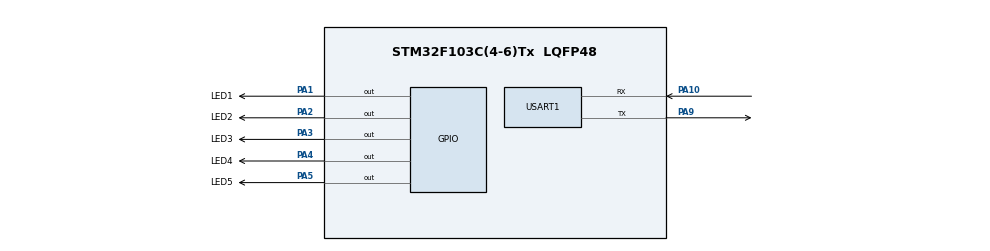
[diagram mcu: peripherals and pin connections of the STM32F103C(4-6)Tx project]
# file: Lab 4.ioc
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Mcu.Family=STM32F1
Mcu.Name=STM32F103C(4-6)Tx
Mcu.Package=LQFP48
NVIC.PriorityGroup=NVIC_PRIORITYGROUP_4
NVIC.TIM2_IRQn=true\:0\:0\:false\:false\:true\:true\:true
PA1.GPIO_Label=LED1
PA1.Signal=GPIO_Output
PA10.Mode=Asynchronous
PA10.Signal=USART1_RX
PA13.Mode=Serial_Wire
PA13.Signal=SYS_JTMS-SWDIO
PA14.Mode=Serial_Wire
PA14.Signal=SYS_JTCK-SWCLK
PA2.GPIO_Label=LED2
PA2.Signal=GPIO_Output
PA3.GPIO_Label=LED3
PA3.Signal=GPIO_Output
PA4.GPIO_Label=LED4
PA4.Signal=GPIO_Output
PA5.GPIO_Label=LED5
PA5.Signal=GPIO_Output
PA9.Mode=Asynchronous
PA9.Signal=USART1_TX
ProjectManager.HeapSize=0x200
ProjectManager.StackSize=0x400
ProjectManager.TargetToolchain=STM32CubeIDE
RCC.APB1Freq_Value=8000000
RCC.APB2Freq_Value=8000000
TIM2.Period=9
TIM2.Prescaler=7999
USART1.VirtualMode=VM_ASYNC
VP_TIM2_VS_ClockSourceINT.Mode=Internal
board=custom

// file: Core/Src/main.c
/* USER CODE BEGIN Header */
/**
  ******************************************************************************
  * @file           : main.c
  * @brief          : Main program body
  ******************************************************************************
  * @attention
  *
  * <h2><center>&copy; Copyright (c) 2026 STMicroelectronics.
  * All rights reserved.</center></h2>
  *
  * This software component is licensed by ST under BSD 3-Clause license,
  * the "License"; You may not use this file except in compliance with the
  * License. You may obtain a copy of the License at:
  *                        opensource.org/licenses/BSD-3-Clause
  *
  ******************************************************************************
  */
/* USER CODE END Header */
#include "main.h"

/* USER CODE BEGIN Includes */
#include "scheduler.h"
#include <stdio.h>
#include <string.h>
/* USER CODE END Includes */

TIM_HandleTypeDef htim2;

UART_HandleTypeDef huart1;

void SystemClock_Config(void);
static void MX_GPIO_Init(void);
static void MX_TIM2_Init(void);
static void MX_USART1_UART_Init(void);

/* USER CODE BEGIN 0 */
uint32_t id_print;
char buf[50];

void print(char *s) {
	HAL_UART_Transmit(&huart1, (uint8_t*)s, strlen(s), 100);
}
GPIO_TypeDef* ledPort[5] = {LED1_GPIO_Port, LED2_GPIO_Port, LED3_GPIO_Port, LED4_GPIO_Port, LED5_GPIO_Port};
uint16_t ledPin[5] = {LED1_Pin, LED2_Pin, LED3_Pin, LED4_Pin, LED5_Pin};
uint8_t ledState[5] = {0, 0, 0, 0, 0};

// dao LED thu i va in trang thai ra terminal
void led_run(int i) {
	HAL_GPIO_TogglePin(ledPort[i], ledPin[i]);
	ledState[i] = !ledState[i];
	sprintf(buf, "t = %lu ms: LED%d %s\r\n", get_time(), i + 1, ledState[i] ? "ON" : "OFF");
	print(buf);
}

void led1(void) { led_run(0); }
void led2(void) { led_run(1); }
void led3(void) { led_run(2); }
void led4(void) { led_run(3); }
void led5(void) { led_run(4); }

void task_print(void) {
	sprintf(buf, "t = %lu ms\r\n", get_time());
	print(buf);
}
void task_stop(void) {
	SCH_Delete_Task(id_print);
	sprintf(buf, "Xoa task in 10ms luc t = %lu ms \r\n", get_time());
	print(buf);
}
void oneshot_A(void) {
	sprintf(buf, "One-shot A chay luc t = %lu ms\r\n", get_time());
	print(buf);
}

void oneshot_B(void) {
	sprintf(buf, "One-shot B chay luc t = %lu ms\r\n", get_time());
	print(buf);
}

void oneshot_C(void) {
	sprintf(buf, "One-shot C chay luc t = %lu ms\r\n", get_time());
	print(buf);
}

void HAL_TIM_PeriodElapsedCallback(TIM_HandleTypeDef *htim) {
	if (htim->Instance == TIM2) {
		SCH_Update();
	}
}
/* USER CODE END 0 */

int main(void)
{

  /* MCU Configuration--------------------------------------------------------*/

  /* Reset of all peripherals, Initializes the Flash interface and the Systick. */
  HAL_Init();

  /* Configure the system clock */
  SystemClock_Config();

  /* Initialize all configured peripherals */
  MX_GPIO_Init();
  MX_TIM2_Init();
  MX_USART1_UART_Init();
  /* USER CODE BEGIN 2 */
  SCH_Init();

    SCH_Add_Task(led1, 0, 500);
    SCH_Add_Task(led2, 0, 1000);
    SCH_Add_Task(led3, 0, 1500);
    SCH_Add_Task(led4, 0, 2000);
    SCH_Add_Task(led5, 0, 2500);

    id_print = SCH_Add_Task(task_print, 0, 10);
    SCH_Add_Task(task_stop, 1000, 0);

    // add lon xon thu tu de chung minh van chay dung thu tu thoi gian
    SCH_Add_Task(oneshot_C, 7000, 0);
    SCH_Add_Task(oneshot_A, 3000, 0);
    SCH_Add_Task(oneshot_B, 5000, 0);

    HAL_TIM_Base_Start_IT(&htim2);

  /* USER CODE END 2 */

  /* Infinite loop */
  while (1)
  {

    /* USER CODE BEGIN 3 */
	  SCH_Dispatch_Tasks();
  }
  /* USER CODE END 3 */
}

void SystemClock_Config(void)
{
  RCC_OscInitTypeDef RCC_OscInitStruct = {0};
  RCC_ClkInitTypeDef RCC_ClkInitStruct = {0};

  /** Initializes the RCC Oscillators according to the specified parameters
  * in the RCC_OscInitTypeDef structure.
  */
  RCC_OscInitStruct.OscillatorType = RCC_OSCILLATORTYPE_HSI;
  RCC_OscInitStruct.HSIState = RCC_HSI_ON;
  RCC_OscInitStruct.HSICalibrationValue = RCC_HSICALIBRATION_DEFAULT;
  RCC_OscInitStruct.PLL.PLLState = RCC_PLL_NONE;
  if (HAL_RCC_OscConfig(&RCC_OscInitStruct) != HAL_OK)
  {
    Error_Handler();
  }
  /** Initializes the CPU, AHB and APB buses clocks
  */
  RCC_ClkInitStruct.ClockType = RCC_CLOCKTYPE_HCLK|RCC_CLOCKTYPE_SYSCLK
                              |RCC_CLOCKTYPE_PCLK1|RCC_CLOCKTYPE_PCLK2;
  RCC_ClkInitStruct.SYSCLKSource = RCC_SYSCLKSOURCE_HSI;
  RCC_ClkInitStruct.AHBCLKDivider = RCC_SYSCLK_DIV1;
  RCC_ClkInitStruct.APB1CLKDivider = RCC_HCLK_DIV1;
  RCC_ClkInitStruct.APB2CLKDivider = RCC_HCLK_DIV1;

  if (HAL_RCC_ClockConfig(&RCC_ClkInitStruct, FLASH_LATENCY_0) != HAL_OK)
  {
    Error_Handler();
  }
}

static void MX_TIM2_Init(void)
{

  TIM_ClockConfigTypeDef sClockSourceConfig = {0};
  TIM_MasterConfigTypeDef sMasterConfig = {0};

  htim2.Instance = TIM2;
  htim2.Init.Prescaler = 7999;
  htim2.Init.CounterMode = TIM_COUNTERMODE_UP;
  htim2.Init.Period = 9;
  htim2.Init.ClockDivision = TIM_CLOCKDIVISION_DIV1;
  htim2.Init.AutoReloadPreload = TIM_AUTORELOAD_PRELOAD_DISABLE;
  if (HAL_TIM_Base_Init(&htim2) != HAL_OK)
  {
    Error_Handler();
  }
  sClockSourceConfig.ClockSource = TIM_CLOCKSOURCE_INTERNAL;
  if (HAL_TIM_ConfigClockSource(&htim2, &sClockSourceConfig) != HAL_OK)
  {
    Error_Handler();
  }
  sMasterConfig.MasterOutputTrigger = TIM_TRGO_RESET;
  sMasterConfig.MasterSlaveMode = TIM_MASTERSLAVEMODE_DISABLE;
  if (HAL_TIMEx_MasterConfigSynchronization(&htim2, &sMasterConfig) != HAL_OK)
  {
    Error_Handler();
  }

}

static void MX_USART1_UART_Init(void)
{

  huart1.Instance = USART1;
  huart1.Init.BaudRate = 115200;
  huart1.Init.WordLength = UART_WORDLENGTH_8B;
  huart1.Init.StopBits = UART_STOPBITS_1;
  huart1.Init.Parity = UART_PARITY_NONE;
  huart1.Init.Mode = UART_MODE_TX_RX;
  huart1.Init.HwFlowCtl = UART_HWCONTROL_NONE;
  huart1.Init.OverSampling = UART_OVERSAMPLING_16;
  if (HAL_UART_Init(&huart1) != HAL_OK)
  {
    Error_Handler();
  }

}

static void MX_GPIO_Init(void)
{
  GPIO_InitTypeDef GPIO_InitStruct = {0};

  /* GPIO Ports Clock Enable */
  __HAL_RCC_GPIOA_CLK_ENABLE();

  /*Configure GPIO pin Output Level */
  HAL_GPIO_WritePin(GPIOA, LED1_Pin|LED2_Pin|LED3_Pin|LED4_Pin
                          |LED5_Pin, GPIO_PIN_RESET);

  /*Configure GPIO pins : LED1_Pin LED2_Pin LED3_Pin LED4_Pin
                           LED5_Pin */
  GPIO_InitStruct.Pin = LED1_Pin|LED2_Pin|LED3_Pin|LED4_Pin
                          |LED5_Pin;
  GPIO_InitStruct.Mode = GPIO_MODE_OUTPUT_PP;
  GPIO_InitStruct.Pull = GPIO_NOPULL;
  GPIO_InitStruct.Speed = GPIO_SPEED_FREQ_LOW;
  HAL_GPIO_Init(GPIOA, &GPIO_InitStruct);

}

void Error_Handler(void)
{
  __disable_irq();
  while (1)
  {
  }
}

/************************ (C) COPYRIGHT STMicroelectronics *****END OF FILE****/
